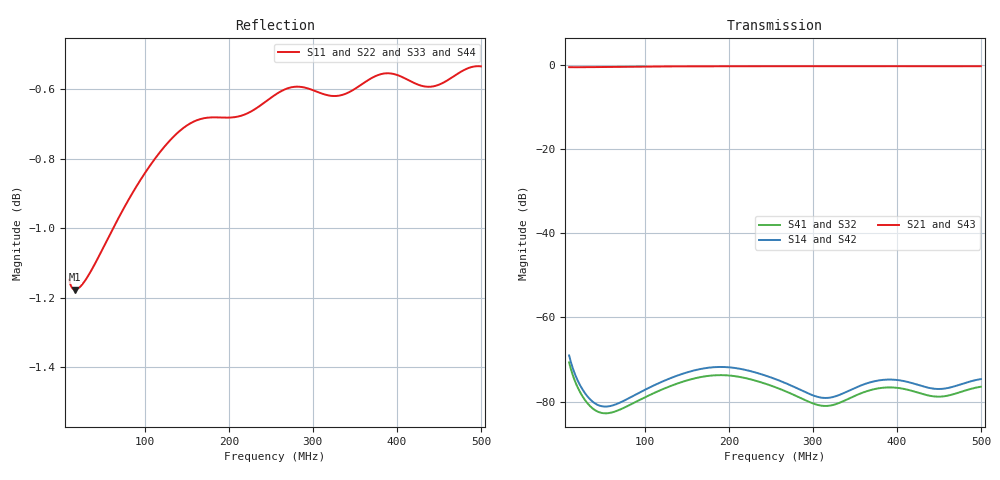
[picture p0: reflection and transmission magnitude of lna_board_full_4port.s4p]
! Created with skrf 2.1.0 (http://scikit-rf.org).
# Hz S RI R 50.0
!freq ReS11 ImS11 ReS12 ImS12 ReS13 ImS13
! ReS14 ImS14
! ReS21 ImS21 ReS22 ImS22 ReS23 ImS23
! ReS24 ImS24
! ReS31 ImS31 ReS32 ImS32 ReS33 ImS33
! ReS34 ImS34
! ReS41 ImS41 ReS42 ImS42 ReS43 ImS43
! ReS44 ImS44
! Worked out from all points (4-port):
!   491 points, 10 MHz to 500 MHz, reference 50 ohm
!   strongest paths, dB at 10 MHz, 132 MHz, 255 MHz, 378 MHz, 500 MHz:
!     S21: -0.6, -0.4, -0.3, -0.3, -0.3
!     S43: -0.7, -0.5, -0.4, -0.4, -0.4
!     S14: -69.0, -74.3, -74.6, -75.0, -74.7
!     S42: -69.8, -74.4, -74.6, -75.1, -74.7
!     S41: -70.7, -76.2, -76.6, -76.9, -76.5
!     S32: -70.4, -76.1, -76.6, -76.8, -76.7
!   lowest |S11| = -1.2 dB at 17 MHz (marker M1), VSWR 14.78, Z = 726 + j97.6 ohm
!   |S11| at or under -10 dB: nowhere
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1e7  0.8758 0.026  0.9378 0.0134  -0.000154 -0.00026  -0.000183 -0.000302
     0.9378 0.0134  0.8758 0.026  -0.000154 -0.00026  -0.000175 -0.000273
     -0.000154 -0.00026  -0.000154 -0.00026  0.8452 0.0316  0.9223 0.0163
     -0.000155 -0.000247  -0.000175 -0.000273  0.9223 0.0163  0.8452 0.0316
1.7e7  0.8731 0.0159  0.9363 0.00805  -0.000108 -0.000143  -0.00013 -0.000166
       0.9363 0.00805  0.8731 0.0159  -0.000108 -0.000143  -0.000127 -0.000149
       -0.000108 -0.000143  -0.000108 -0.000143  0.8421 0.0194  0.9206 0.00987
       -0.00011 -0.000135  -0.000127 -0.000149  0.9206 0.00987  0.8421 0.0194
4e7  0.8805 0.00285  0.9398 0.00102  -7.7e-05 -1.08e-05  -9.55e-05 -1.14e-05
     0.9398 0.00102  0.8805 0.00285  -7.7e-05 -1.08e-05  -9.65e-05 -6.33e-06
     -7.7e-05 -1.08e-05  -7.7e-05 -1.08e-05  0.8513 0.00366  0.9251 0.00144
     -7.97e-05 -6.79e-06  -9.65e-05 -6.33e-06  0.9251 0.00144  0.8513 0.00366
1.85e8  0.917 -0.1182  0.9583 -0.0594  0.000139 -0.00015  0.000173 -0.000189
        0.9583 -0.0594  0.917 -0.1182  0.000139 -0.00015  0.000171 -0.000191
        0.000139 -0.00015  0.000139 -0.00015  0.8945 -0.1466  0.9482 -0.0741
        0.000139 -0.000151  0.000171 -0.000191  0.9482 -0.0741  0.8945 -0.1466
3.13e8  0.9038 -0.2265  0.9552 -0.1125  -6.06e-05 6.63e-05  -7.28e-05 8.3e-05
        0.9552 -0.1125  0.9038 -0.2265  -6.06e-05 6.63e-05  -7.34e-05 7.89e-05
        -6.06e-05 6.63e-05  -6.06e-05 6.63e-05  0.8715 -0.2803  0.9423 -0.1409
        -5.96e-05 6.56e-05  -7.34e-05 7.89e-05  0.9423 -0.1409  0.8715 -0.2803
3.82e8  0.8949 -0.2811  0.9537 -0.1395  9.51e-06 0.000145  1.91e-05 0.000179
        0.9537 -0.1395  0.8949 -0.2811  9.51e-06 0.000145  2.01e-05 0.000176
        9.51e-06 0.000145  9.51e-06 0.000145  0.8557 -0.3471  0.9388 -0.1747
        1.08e-05 0.000145  2.01e-05 0.000176  0.9388 -0.1747  0.8557 -0.3471
5e8  0.8627 -0.3744  0.9444 -0.1864  0.000127 7.37e-05  0.000164 8.44e-05
     0.9444 -0.1864  0.8627 -0.3744  0.000127 7.37e-05  0.000166 8.2e-05
     0.000127 7.37e-05  0.000127 7.37e-05  0.8052 -0.4587  0.9235 -0.2328
     0.00013 7.53e-05  0.000166 8.2e-05  0.9235 -0.2328  0.8052 -0.4587
